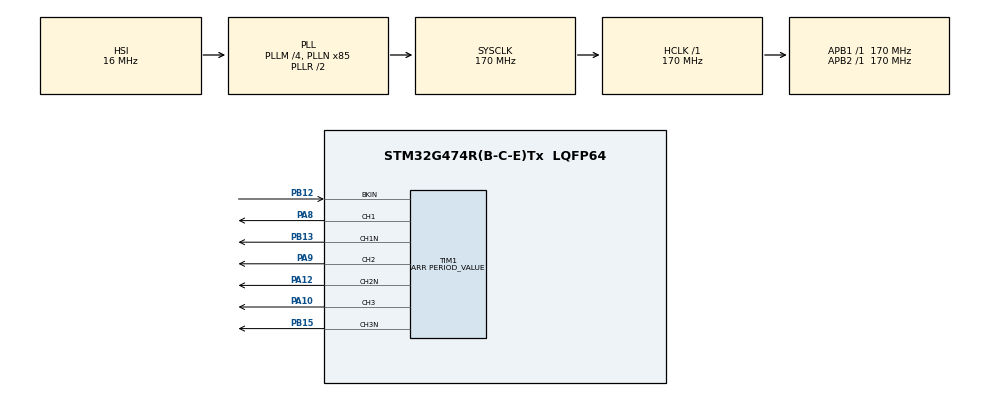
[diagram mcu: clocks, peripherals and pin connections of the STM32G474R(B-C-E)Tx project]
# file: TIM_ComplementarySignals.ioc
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Mcu.Family=STM32G4
Mcu.Name=STM32G474R(B-C-E)Tx
Mcu.Package=LQFP64
NVIC.PriorityGroup=NVIC_PRIORITYGROUP_4
PA10.GPIO_PuPd=GPIO_PULLDOWN
PA10.GPIO_Speed=GPIO_SPEED_FREQ_HIGH
PA10.Signal=S_TIM1_CH3
PA12.GPIO_PuPd=GPIO_PULLDOWN
PA12.GPIO_Speed=GPIO_SPEED_FREQ_HIGH
PA12.Mode=PWM Generation2 CH2 CH2N
PA12.Signal=TIM1_CH2N
PA8.GPIO_PuPd=GPIO_PULLDOWN
PA8.GPIO_Speed=GPIO_SPEED_FREQ_HIGH
PA8.Signal=S_TIM1_CH1
PA9.GPIO_PuPd=GPIO_PULLDOWN
PA9.GPIO_Speed=GPIO_SPEED_FREQ_HIGH
PA9.Signal=S_TIM1_CH2
PB12.Mode=Activate-Break-Input
PB12.Signal=TIM1_BKIN
PB13.GPIO_PuPd=GPIO_PULLDOWN
PB13.GPIO_Speed=GPIO_SPEED_FREQ_HIGH
PB13.Mode=PWM Generation1 CH1 CH1N
PB13.Signal=TIM1_CH1N
PB15.GPIO_PuPd=GPIO_PULLDOWN
PB15.GPIO_Speed=GPIO_SPEED_FREQ_HIGH
PB15.Mode=PWM Generation3 CH3 CH3N
PB15.Signal=TIM1_CH3N
PF0-OSC_IN.Mode=HSE-External-Oscillator
PF0-OSC_IN.Signal=RCC_OSC_IN
PF1-OSC_OUT.Mode=HSE-External-Oscillator
PF1-OSC_OUT.Signal=RCC_OSC_OUT
ProjectManager.HeapSize=0x200
ProjectManager.StackSize=0x400
ProjectManager.TargetToolchain=EWARM V8.32
RCC.ADC12Freq_Value=170000000
RCC.ADC345Freq_Value=170000000
RCC.AHBFreq_Value=170000000
RCC.APB1Freq_Value=170000000
RCC.APB1TimFreq_Value=170000000
RCC.APB2Freq_Value=170000000
RCC.APB2TimFreq_Value=170000000
RCC.CortexFreq_Value=170000000
RCC.EXTERNAL_CLOCK_VALUE=12288000
RCC.HCLKFreq_Value=170000000
RCC.HSE_VALUE=24000000
RCC.HSI48_VALUE=48000000
RCC.HSI_VALUE=16000000
RCC.LSE_VALUE=32768
RCC.PLLM=RCC_PLLM_DIV4
RCC.PLLN=85
RCC.SYSCLKFreq_VALUE=170000000
RCC.SYSCLKSource=RCC_SYSCLKSOURCE_PLLCLK
RCC.USBFreq_Value=170000000
RCC.VCOOutputFreq_Value=340000000
SH.S_TIM1_CH1.0=TIM1_CH1,PWM Generation1 CH1 CH1N
SH.S_TIM1_CH2.0=TIM1_CH2,PWM Generation2 CH2 CH2N
SH.S_TIM1_CH3.0=TIM1_CH3,PWM Generation3 CH3 CH3N
TIM1.AutomaticOutput=TIM_AUTOMATICOUTPUT_ENABLE
TIM1.Channel-PWM\ Generation1\ CH1\ CH1N=TIM_CHANNEL_1
TIM1.Channel-PWM\ Generation2\ CH2\ CH2N=TIM_CHANNEL_2
TIM1.Channel-PWM\ Generation3\ CH3\ CH3N=TIM_CHANNEL_3
TIM1.DeadTime=100
TIM1.LockLevel=TIM_LOCKLEVEL_1
TIM1.OffStateIDLEMode=TIM_OSSI_ENABLE
TIM1.OffStateRunMode=TIM_OSSR_ENABLE
TIM1.Period=PERIOD_VALUE
TIM1.Prescaler=PRESCALER_VALUE
TIM1.PulseNoDither_1=PULSE1_VALUE
TIM1.PulseNoDither_2=PULSE2_VALUE
TIM1.PulseNoDither_3=PULSE3_VALUE
VP_SYS_VS_DBSignals.Mode=DisableDeadBatterySignals
board=custom

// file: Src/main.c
/* USER CODE BEGIN Header */
/**
  ******************************************************************************
  * @file           : main.c
  * @brief          : Main program body
  ******************************************************************************
  * @attention
  *
  * Copyright (c) 2019 STMicroelectronics.
  * All rights reserved.
  *
  * This software is licensed under terms that can be found in the LICENSE file
  * in the root directory of this software component.
  * If no LICENSE file comes with this software, it is provided AS-IS.
  *
  ******************************************************************************
  */
/* USER CODE END Header */
#include "main.h"

/* USER CODE BEGIN Includes */
#include "stm32g4xx_nucleo.h"

/* USER CODE END Includes */

TIM_HandleTypeDef htim1;

void SystemClock_Config(void);
static void MX_GPIO_Init(void);
static void MX_TIM1_Init(void);

int main(void)
{

  /* MCU Configuration--------------------------------------------------------*/

  /* Reset of all peripherals, Initializes the Flash interface and the Systick. */
  HAL_Init();

  /* Configure the system clock */
  SystemClock_Config();

  /* Initialize all configured peripherals */
  MX_GPIO_Init();
  MX_TIM1_Init();
  /* USER CODE BEGIN 2 */
  /* Configure LED2 */
  BSP_LED_Init(LED2);
 /*##-3- Start PWM signals generation #######################################*/
  /* Start channel 1 */
  if(HAL_TIM_PWM_Start(&htim1, TIM_CHANNEL_1) != HAL_OK)
  {
    /* Starting Error */
    Error_Handler();
  }
  /* Start channel 1N */
  if(HAL_TIMEx_PWMN_Start(&htim1, TIM_CHANNEL_1) != HAL_OK)
  {
    /* Starting Error */
    Error_Handler();
  }

  /* Start channel 2 */
  if(HAL_TIM_PWM_Start(&htim1, TIM_CHANNEL_2) != HAL_OK)
  {
    /* Starting Error */
    Error_Handler();
  }
  /* Start channel 2N */
  if(HAL_TIMEx_PWMN_Start(&htim1, TIM_CHANNEL_2) != HAL_OK)
  {
    /* Starting Error */
    Error_Handler();
  }

  /* Start channel 3 */
  if(HAL_TIM_PWM_Start(&htim1, TIM_CHANNEL_3) != HAL_OK)
  {
    /* Starting Error */
    Error_Handler();
  }
  /* Start channel 3N */
  if(HAL_TIMEx_PWMN_Start(&htim1, TIM_CHANNEL_3) != HAL_OK)
  {
    /* Starting Error */
    Error_Handler();
  }

  /* USER CODE END 2 */

  /* Infinite loop */
  while (1)
  {

  }
}

void SystemClock_Config(void)
{
  RCC_OscInitTypeDef RCC_OscInitStruct = {0};
  RCC_ClkInitTypeDef RCC_ClkInitStruct = {0};

  /** Configure the main internal regulator output voltage
  */
  HAL_PWREx_ControlVoltageScaling(PWR_REGULATOR_VOLTAGE_SCALE1_BOOST);

  /** Initializes the RCC Oscillators according to the specified parameters
  * in the RCC_OscInitTypeDef structure.
  */
  RCC_OscInitStruct.OscillatorType = RCC_OSCILLATORTYPE_HSI;
  RCC_OscInitStruct.HSIState = RCC_HSI_ON;
  RCC_OscInitStruct.HSICalibrationValue = RCC_HSICALIBRATION_DEFAULT;
  RCC_OscInitStruct.PLL.PLLState = RCC_PLL_ON;
  RCC_OscInitStruct.PLL.PLLSource = RCC_PLLSOURCE_HSI;
  RCC_OscInitStruct.PLL.PLLM = RCC_PLLM_DIV4;
  RCC_OscInitStruct.PLL.PLLN = 85;
  RCC_OscInitStruct.PLL.PLLP = RCC_PLLP_DIV2;
  RCC_OscInitStruct.PLL.PLLQ = RCC_PLLQ_DIV2;
  RCC_OscInitStruct.PLL.PLLR = RCC_PLLR_DIV2;
  if (HAL_RCC_OscConfig(&RCC_OscInitStruct) != HAL_OK)
  {
    Error_Handler();
  }

  /** Initializes the CPU, AHB and APB buses clocks
  */
  RCC_ClkInitStruct.ClockType = RCC_CLOCKTYPE_HCLK|RCC_CLOCKTYPE_SYSCLK
                              |RCC_CLOCKTYPE_PCLK1|RCC_CLOCKTYPE_PCLK2;
  RCC_ClkInitStruct.SYSCLKSource = RCC_SYSCLKSOURCE_PLLCLK;
  RCC_ClkInitStruct.AHBCLKDivider = RCC_SYSCLK_DIV1;
  RCC_ClkInitStruct.APB1CLKDivider = RCC_HCLK_DIV1;
  RCC_ClkInitStruct.APB2CLKDivider = RCC_HCLK_DIV1;

  if (HAL_RCC_ClockConfig(&RCC_ClkInitStruct, FLASH_LATENCY_4) != HAL_OK)
  {
    Error_Handler();
  }
}

static void MX_TIM1_Init(void)
{

  TIM_MasterConfigTypeDef sMasterConfig = {0};
  TIMEx_BreakInputConfigTypeDef sBreakInputConfig = {0};
  TIM_OC_InitTypeDef sConfigOC = {0};
  TIM_BreakDeadTimeConfigTypeDef sBreakDeadTimeConfig = {0};

  htim1.Instance = TIM1;
  htim1.Init.Prescaler = PRESCALER_VALUE;
  htim1.Init.CounterMode = TIM_COUNTERMODE_UP;
  htim1.Init.Period = PERIOD_VALUE;
  htim1.Init.ClockDivision = TIM_CLOCKDIVISION_DIV1;
  htim1.Init.RepetitionCounter = 0;
  htim1.Init.AutoReloadPreload = TIM_AUTORELOAD_PRELOAD_DISABLE;
  if (HAL_TIM_PWM_Init(&htim1) != HAL_OK)
  {
    Error_Handler();
  }
  sMasterConfig.MasterOutputTrigger = TIM_TRGO_RESET;
  sMasterConfig.MasterOutputTrigger2 = TIM_TRGO2_RESET;
  sMasterConfig.MasterSlaveMode = TIM_MASTERSLAVEMODE_DISABLE;
  if (HAL_TIMEx_MasterConfigSynchronization(&htim1, &sMasterConfig) != HAL_OK)
  {
    Error_Handler();
  }
  sBreakInputConfig.Source = TIM_BREAKINPUTSOURCE_BKIN;
  sBreakInputConfig.Enable = TIM_BREAKINPUTSOURCE_ENABLE;
  sBreakInputConfig.Polarity = TIM_BREAKINPUTSOURCE_POLARITY_HIGH;
  if (HAL_TIMEx_ConfigBreakInput(&htim1, TIM_BREAKINPUT_BRK, &sBreakInputConfig) != HAL_OK)
  {
    Error_Handler();
  }
  sConfigOC.OCMode = TIM_OCMODE_PWM1;
  sConfigOC.Pulse = PULSE1_VALUE;
  sConfigOC.OCPolarity = TIM_OCPOLARITY_HIGH;
  sConfigOC.OCNPolarity = TIM_OCNPOLARITY_HIGH;
  sConfigOC.OCFastMode = TIM_OCFAST_DISABLE;
  sConfigOC.OCIdleState = TIM_OCIDLESTATE_RESET;
  sConfigOC.OCNIdleState = TIM_OCNIDLESTATE_RESET;
  if (HAL_TIM_PWM_ConfigChannel(&htim1, &sConfigOC, TIM_CHANNEL_1) != HAL_OK)
  {
    Error_Handler();
  }
  sConfigOC.Pulse = PULSE2_VALUE;
  if (HAL_TIM_PWM_ConfigChannel(&htim1, &sConfigOC, TIM_CHANNEL_2) != HAL_OK)
  {
    Error_Handler();
  }
  sConfigOC.Pulse = PULSE3_VALUE;
  if (HAL_TIM_PWM_ConfigChannel(&htim1, &sConfigOC, TIM_CHANNEL_3) != HAL_OK)
  {
    Error_Handler();
  }
  sBreakDeadTimeConfig.OffStateRunMode = TIM_OSSR_ENABLE;
  sBreakDeadTimeConfig.OffStateIDLEMode = TIM_OSSI_ENABLE;
  sBreakDeadTimeConfig.LockLevel = TIM_LOCKLEVEL_1;
  sBreakDeadTimeConfig.DeadTime = 100;
  sBreakDeadTimeConfig.BreakState = TIM_BREAK_ENABLE;
  sBreakDeadTimeConfig.BreakPolarity = TIM_BREAKPOLARITY_HIGH;
  sBreakDeadTimeConfig.BreakFilter = 0;
  sBreakDeadTimeConfig.BreakAFMode = TIM_BREAK_AFMODE_INPUT;
  sBreakDeadTimeConfig.Break2State = TIM_BREAK2_DISABLE;
  sBreakDeadTimeConfig.Break2Polarity = TIM_BREAK2POLARITY_HIGH;
  sBreakDeadTimeConfig.Break2Filter = 0;
  sBreakDeadTimeConfig.Break2AFMode = TIM_BREAK_AFMODE_INPUT;
  sBreakDeadTimeConfig.AutomaticOutput = TIM_AUTOMATICOUTPUT_ENABLE;
  if (HAL_TIMEx_ConfigBreakDeadTime(&htim1, &sBreakDeadTimeConfig) != HAL_OK)
  {
    Error_Handler();
  }
  HAL_TIM_MspPostInit(&htim1);

}

static void MX_GPIO_Init(void)
{

  /* GPIO Ports Clock Enable */
  __HAL_RCC_GPIOF_CLK_ENABLE();
  __HAL_RCC_GPIOB_CLK_ENABLE();
  __HAL_RCC_GPIOA_CLK_ENABLE();

}

void Error_Handler(void)
{
  /* USER CODE BEGIN Error_Handler_Debug */
  /* User can add his own implementation to report the HAL error return state */
  /* Turn LED2 on */
  BSP_LED_On(LED2);
  while(1)
  {
  }
  /* USER CODE END Error_Handler_Debug */
}
